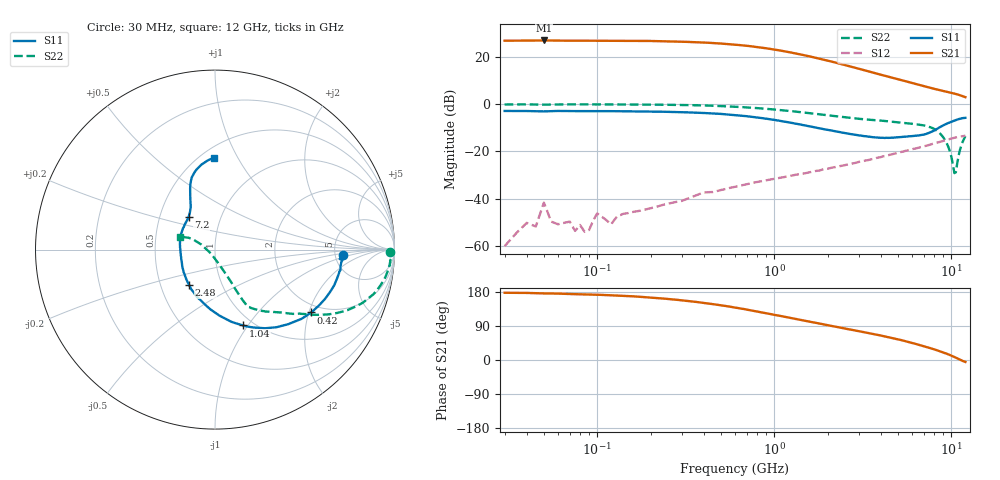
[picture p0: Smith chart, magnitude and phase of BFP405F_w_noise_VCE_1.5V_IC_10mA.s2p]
! Infineon Technologies  Discrete & RF Semiconductors
! BFP405F
! VCE =  1.5 V,  IC =  10 mA
! Common Emitter S-Parameters:  Nov 2015
# GHz  S  MA  R  50
!  f  S11  S21  S12  S22
! GHz  MAG  ANG  MAG  ANG  MAG  ANG  MAG  ANG
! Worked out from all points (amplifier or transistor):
!   239 points, 30 MHz to 12 GHz, reference 50 ohm
!   highest |S21| = 26.8 dB at 50 MHz (marker M1)
!   |S21| within 3 dB of that: start of sweep to 840.5 MHz
!   unconditionally stable (mu >= 1): 2.181 GHz to end of sweep
!   at 300 MHz: K = 0.22, MSG = 33.6 dB, |S12| = -40.9 dB
!   at 1.88 GHz: K = 0.91, MSG = 23.2 dB, |S12| = -27.6 dB
!   at 12 GHz: K = 1.40, MAG = 4.4 dB, |S12| = -13.4 dB
!   lowest NFmin = 1.67 dB at 450 MHz
!   S11 on the Smith chart (normalised r, x): 30 MHz: 5.87, -0.68; 420 MHz: 1.75, -2.07; 1.04 GHz: 0.89, -0.95; 2.48 GHz: 0.70, -0.29; 7.2 GHz: 0.70, +0.27; 12 GHz: 0.58, +0.80
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0.03  0.7124 -2.3  21.61 177.4  0.001 115.0  0.9752 -0.7
0.045  0.7032 -3.7  21.77 176.3  0.0026 -101.4  0.9734 -1.3
0.05  0.6967 -4.3  21.86 175.7  0.0083 -106.4  0.9659 -1.6
0.055  0.7045 -4.5  21.76 175.5  0.0033 -124.8  0.9724 -1.5
0.085  0.7061 -6.9  21.61 173.2  0.002 46.0  0.9816 -2.8
0.1  0.7064 -8.2  21.52 172.3  0.0049 86.3  0.9773 -3.6
0.145  0.7007 -12.1  21.51 169.3  0.0049 86.8  0.9772 -5.2
0.24  0.6846 -19.7  20.99 161.9  0.0076 78.4  0.9631 -8.8
0.32  0.6657 -25.8  20.43 156.2  0.0099 77.4  0.9474 -11.5
0.42  0.6391 -33.2  19.59 149.3  0.0137 80.0  0.9251 -14.7
0.6  0.582 -45.6  17.83 138.4  0.0179 73.4  0.8749 -19.8
0.8  0.5195 -57.5  15.85 128.0  0.0226 70.2  0.8178 -24.1
1.04  0.4507 -69.7  13.72 118.0  0.0271 68.1  0.7538 -28.2
1.3  0.3875 -81.8  11.78 108.8  0.0318 66.0  0.6944 -31.5
1.64  0.3286 -95.7  9.786 99.8  0.0373 64.3  0.6312 -34.9
2.48  0.2439 -126.3  6.691 83.4  0.0508 62.2  0.5255 -42.3
3.3  0.2081 -150.0  5.029 72.3  0.0645 60.4  0.471 -47.4
4.5  0.1933 -179.2  3.677 59.5  0.0844 57.0  0.4278 -52.8
7.2  0.2328 129.3  2.309 34.5  0.1312 46.5  0.3425 -60.7
9.2  0.3682 112.1  1.843 18.2  0.1701 36.7  0.1737 -64.7
10.4  0.4457 104.8  1.654 7.9  0.1936 29.5  0.0348 -116.4
12  0.5095 90.8  1.39 -5.1  0.2139 20.4  0.2086 159.7
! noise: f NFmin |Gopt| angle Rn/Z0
0.45  1.67  0.21  5  0.32
0.9  1.68  0.19  9  0.33
1.5  1.74  0.17  15  0.25
1.9  1.78  0.16  21  0.29
2.4  1.91  0.14  28  0.36
3  1.99  0.12  42  0.35
3.5  2.04  0.1  48  0.34
4.5  2.21  0.08  46  0.2
5.5  2.42  0.04  37  0.06
